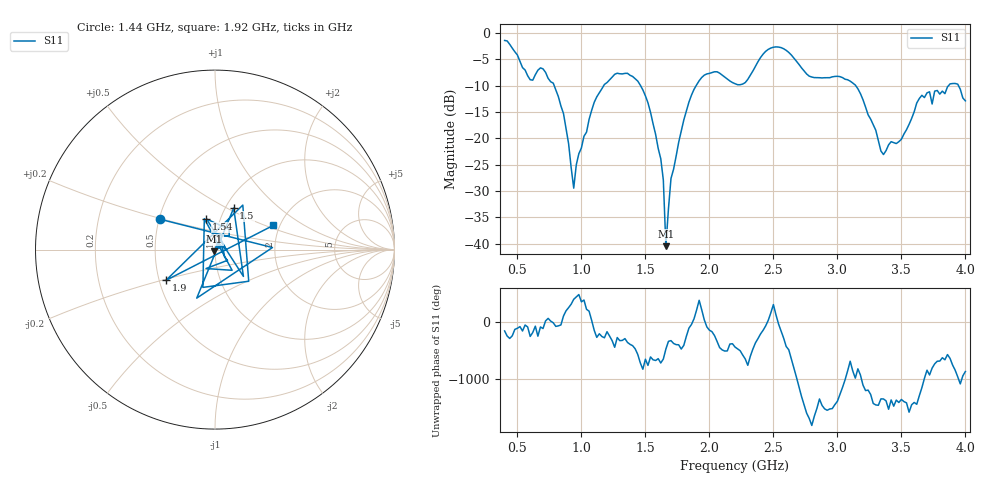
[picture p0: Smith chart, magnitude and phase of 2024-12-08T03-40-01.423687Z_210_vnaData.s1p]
!Created with skrf (http://scikit-rf.org).
# Hz S RI R 50.0
!freq ReS11 ImS11
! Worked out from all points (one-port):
!   181 points, 400 MHz to 4 GHz, reference 50 ohm
!   lowest |S11| = -40.5 dB at 1.66 GHz (marker M1), VSWR 1.02, Z = 49.6 - j0.85 ohm
!   |S11| at or under -10 dB: 787.8 MHz to 1.174 GHz (386 MHz wide, 39.4 % of centre); 1.463 GHz to 1.896 GHz (433.6 MHz wide, 25.8 % of centre); 3.144 GHz to 3.868 GHz (724 MHz wide, 20.7 % of centre) (the widest 3 of 4)
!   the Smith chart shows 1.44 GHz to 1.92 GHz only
!   S11 on the Smith chart (normalised r, x): 1.44 GHz: 0.51, +0.20; 1.5 GHz: 1.09, +0.54; 1.54 GHz: 0.86, +0.30; 1.9 GHz: 0.54, -0.21; 1.92 GHz: 1.85, +0.57
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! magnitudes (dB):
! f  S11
! 400 MHz  -1.4
! 600 MHz  -8.9
! 700 MHz  -6.8
! 860 MHz  -15.3
! 940 MHz  -29.4
! 980 MHz  -22.9
! 1.1 GHz  -13.2
! 1.3 GHz  -7.7
! 1.44 GHz  -9.1
! 1.5 GHz  -11.9
! 1.54 GHz  -15.0
! 1.64 GHz  -27.9
! 1.66 GHz  -40.5
! 1.7 GHz  -27.6
! 1.76 GHz  -20.7
! 1.9 GHz  -9.8
! 1.92 GHz  -9.1
! 2.2 GHz  -9.6
! 2.48 GHz  -2.8
! 2.66 GHz  -4.7
! 2.78 GHz  -8.2
! 3.1 GHz  -9.1
! 3.36 GHz  -23.1
! 3.56 GHz  -17.3
! 3.72 GHz  -11.2
! 3.74 GHz  -13.5
! 3.92 GHz  -9.6
! 4 GHz  -12.9
